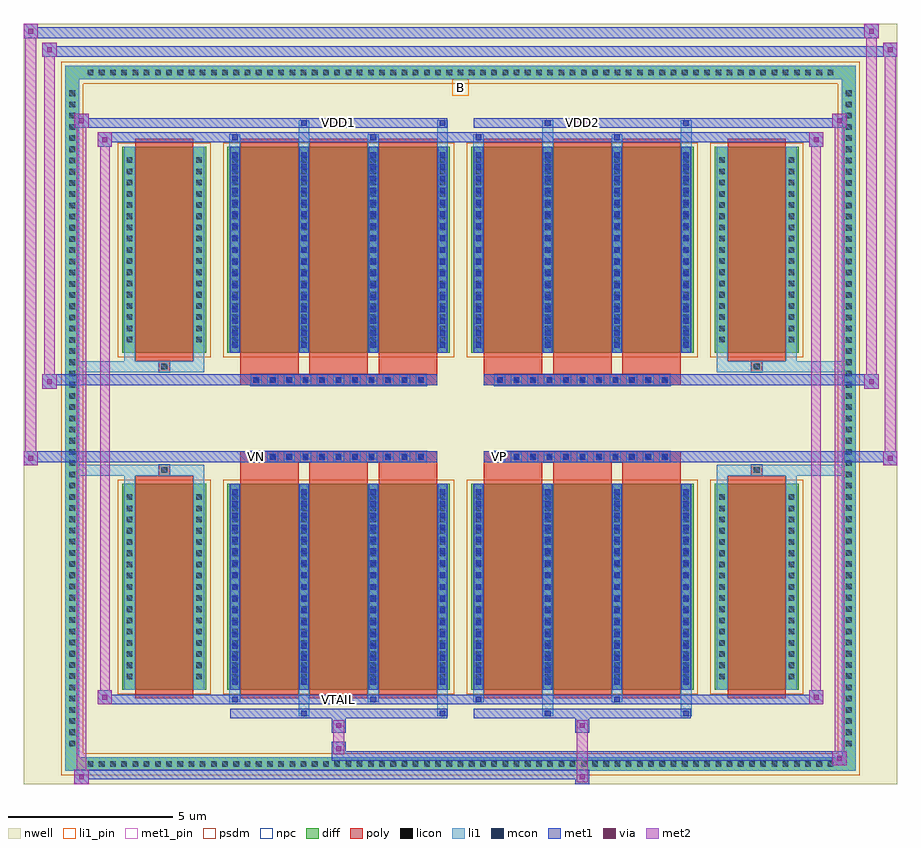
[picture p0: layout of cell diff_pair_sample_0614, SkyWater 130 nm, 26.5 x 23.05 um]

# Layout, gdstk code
import gdstk
lib = gdstk.Library(unit=1e-6, precision=5e-09)
def R(c, l, rs):  # rectangles x0, y0, x1, y1
    for r in rs: c.add(gdstk.rectangle(r[:2], r[2:], *l))
def A(c, l, x, y, w, h, nx, ny, dx, dy):  # array of equal rectangles
    R(c, l, [(x+i*dx, y+j*dy, x+i*dx+w, y+j*dy+h) for i in range(nx) for j in range(ny)])
def P(c, l, *ps):  # polygons
    for p in ps: c.add(gdstk.Polygon(p, *l))
nwell = (64, 20)
diff = (65, 20)
poly = (66, 20)
licon = (66, 44)
li1_pin = (67, 16)
li1 = (67, 20)
mcon = (67, 44)
met1_pin = (68, 16)
met1 = (68, 20)
via = (68, 44)
met2 = (69, 20)
psdm = (94, 20)
npc = (95, 20)

diff_pair_sample_0614 = lib.new_cell('diff_pair_sample_0614')
R(diff_pair_sample_0614, nwell, [(-13.25,-11.09,13.25,11.96), (-10.57,-9.28,-0.01,-0.8), (0.01,-9.28,10.57,-0.8), (-10.57,0.8,-0.01,9.28), (0.01,0.8,10.57,9.28)])
A(diff_pair_sample_0614, diff, -11.425, -10.69, 0.41, 0.41, 67, 2, 0.34, 20.97)
A(diff_pair_sample_0614, diff, -11.98, -10.065, 0.41, 0.41, 1, 59, 0, 0.34)
A(diff_pair_sample_0614, diff, 11.57, -10.065, 0.41, 0.41, 1, 59, 0, 0.34)
R(diff_pair_sample_0614, diff, [(-11.425,-10.69,11.425,-10.28), (-11.98,-10.065,-11.57,10.065), (11.57,-10.065,11.98,10.065), (-10.26,-8.235,-7.71,-1.985), (-7.07,-8.235,-0.32,-1.985), (0.32,-8.235,7.07,-1.985), (7.71,-8.235,10.26,-1.985), (-10.26,1.985,-7.71,8.235), (-7.07,1.985,-0.32,8.235), (0.32,1.985,7.07,8.235), (7.71,1.985,10.26,8.235), (-11.425,10.28,11.425,10.69)])
P(diff_pair_sample_0614, diff, [(11.98,10.69),(-11.98,10.69),(-11.98,-10.28),(-11.57,-10.28),(-11.57,10.28),(11.57,10.28),(11.57,-10.28),(-11.57,-10.28),(-11.98,-10.28),(-11.98,-10.69),(11.98,-10.69)])
A(diff_pair_sample_0614, poly, -6.68, -8.485, 1.77, 6.75, 3, 2, 2.1, 10.22)
A(diff_pair_sample_0614, poly, 0.71, -8.485, 1.77, 6.75, 3, 2, 2.1, 10.22)
A(diff_pair_sample_0614, poly, -6.68, -1.735, 1.77, 0.405, 3, 2, 2.1, 3.065)
A(diff_pair_sample_0614, poly, 0.71, -1.735, 1.77, 0.405, 3, 2, 2.1, 3.065)
A(diff_pair_sample_0614, poly, -6.36, -1.33, 0.33, 0.33, 11, 2, 0.5, 2.33)
A(diff_pair_sample_0614, poly, 1.03, -1.33, 0.33, 0.33, 11, 2, 0.5, 2.33)
R(diff_pair_sample_0614, poly, [(-9.87,-8.485,-8.1,-1.735), (8.1,-8.485,9.87,-1.735), (-9.15,-1.735,-8.82,-1.405), (-9.15,-1.735,-8.82,-1.405), (8.82,-1.735,9.15,-1.405), (8.82,-1.735,9.15,-1.405), (-6.68,-1.33,-0.71,-1), (0.71,-1.33,6.68,-1), (-6.68,1,-0.71,1.33), (0.71,1,6.68,1.33), (-9.15,1.405,-8.82,1.735), (-9.15,1.405,-8.82,1.735), (8.82,1.405,9.15,1.735), (8.82,1.405,9.15,1.735), (-9.87,1.735,-8.1,8.485), (8.1,1.735,9.87,8.485)])
A(diff_pair_sample_0614, licon, -11.305, -10.57, 0.17, 0.17, 67, 2, 0.34, 20.97)
A(diff_pair_sample_0614, licon, -11.86, -9.945, 0.17, 0.17, 1, 59, 0, 0.34)
A(diff_pair_sample_0614, licon, 11.69, -9.945, 0.17, 0.17, 1, 59, 0, 0.34)
A(diff_pair_sample_0614, licon, -10.12, -7.915, 0.17, 0.17, 1, 17, 0, 0.34)
A(diff_pair_sample_0614, licon, -8.02, -7.915, 0.17, 0.17, 1, 17, 0, 0.34)
A(diff_pair_sample_0614, licon, -6.93, -7.915, 0.17, 0.17, 4, 17, 2.1, 0.34)
A(diff_pair_sample_0614, licon, 0.46, -7.915, 0.17, 0.17, 4, 17, 2.1, 0.34)
A(diff_pair_sample_0614, licon, 7.85, -7.915, 0.17, 0.17, 1, 17, 0, 0.34)
A(diff_pair_sample_0614, licon, 9.95, -7.915, 0.17, 0.17, 1, 17, 0, 0.34)
A(diff_pair_sample_0614, licon, -6.28, -1.25, 0.17, 0.17, 11, 2, 0.5, 2.33)
A(diff_pair_sample_0614, licon, 1.11, -1.25, 0.17, 0.17, 11, 2, 0.5, 2.33)
A(diff_pair_sample_0614, licon, -10.12, 2.305, 0.17, 0.17, 1, 17, 0, 0.34)
A(diff_pair_sample_0614, licon, -8.02, 2.305, 0.17, 0.17, 1, 17, 0, 0.34)
A(diff_pair_sample_0614, licon, -6.93, 2.305, 0.17, 0.17, 4, 17, 2.1, 0.34)
A(diff_pair_sample_0614, licon, 0.46, 2.305, 0.17, 0.17, 4, 17, 2.1, 0.34)
A(diff_pair_sample_0614, licon, 7.85, 2.305, 0.17, 0.17, 1, 17, 0, 0.34)
A(diff_pair_sample_0614, licon, 9.95, 2.305, 0.17, 0.17, 1, 17, 0, 0.34)
R(diff_pair_sample_0614, licon, [(-9.07,-1.655,-8.9,-1.485), (8.9,-1.655,9.07,-1.485), (-9.07,1.485,-8.9,1.655), (8.9,1.485,9.07,1.655)])
R(diff_pair_sample_0614, li1_pin, [(-0.25,9.78,0.25,10.28)])
A(diff_pair_sample_0614, li1, -11.385, -10.65, 0.33, 0.33, 67, 2, 0.34, 20.97)
A(diff_pair_sample_0614, li1, -11.94, -10.025, 0.33, 0.33, 1, 59, 0, 0.34)
A(diff_pair_sample_0614, li1, 11.61, -10.025, 0.33, 0.33, 1, 59, 0, 0.34)
A(diff_pair_sample_0614, li1, -7.01, -8.235, 0.33, 6.25, 4, 2, 2.1, 10.22)
A(diff_pair_sample_0614, li1, 0.38, -8.235, 0.33, 6.25, 4, 2, 2.1, 10.22)
A(diff_pair_sample_0614, li1, -6.93, -8.075, 0.17, 0.17, 4, 17, 2.1, 0.36)
A(diff_pair_sample_0614, li1, -6.93, -8.075, 0.17, 5.93, 4, 2, 2.1, 10.22)
A(diff_pair_sample_0614, li1, 0.46, -8.075, 0.17, 0.17, 4, 17, 2.1, 0.36)
A(diff_pair_sample_0614, li1, 0.46, -8.075, 0.17, 5.93, 4, 2, 2.1, 10.22)
A(diff_pair_sample_0614, li1, -10.2, -7.995, 0.33, 0.33, 1, 17, 0, 0.34)
A(diff_pair_sample_0614, li1, -8.1, -7.995, 0.33, 0.33, 1, 17, 0, 0.34)
A(diff_pair_sample_0614, li1, -7.01, -7.995, 0.33, 0.33, 4, 17, 2.1, 0.34)
A(diff_pair_sample_0614, li1, 0.38, -7.995, 0.33, 0.33, 4, 17, 2.1, 0.34)
A(diff_pair_sample_0614, li1, 7.77, -7.995, 0.33, 0.33, 1, 17, 0, 0.34)
A(diff_pair_sample_0614, li1, 9.87, -7.995, 0.33, 0.33, 1, 17, 0, 0.34)
A(diff_pair_sample_0614, li1, -6.36, -1.33, 0.33, 0.33, 11, 2, 0.5, 2.33)
A(diff_pair_sample_0614, li1, 1.03, -1.33, 0.33, 0.33, 11, 2, 0.5, 2.33)
A(diff_pair_sample_0614, li1, -6.93, 2.145, 0.17, 0.17, 4, 17, 2.1, 0.36)
A(diff_pair_sample_0614, li1, 0.46, 2.145, 0.17, 0.17, 4, 17, 2.1, 0.36)
A(diff_pair_sample_0614, li1, -10.2, 2.225, 0.33, 0.33, 1, 17, 0, 0.34)
A(diff_pair_sample_0614, li1, -8.1, 2.225, 0.33, 0.33, 1, 17, 0, 0.34)
A(diff_pair_sample_0614, li1, -7.01, 2.225, 0.33, 0.33, 4, 17, 2.1, 0.34)
A(diff_pair_sample_0614, li1, 0.38, 2.225, 0.33, 0.33, 4, 17, 2.1, 0.34)
A(diff_pair_sample_0614, li1, 7.77, 2.225, 0.33, 0.33, 1, 17, 0, 0.34)
A(diff_pair_sample_0614, li1, 9.87, 2.225, 0.33, 0.33, 1, 17, 0, 0.34)
R(diff_pair_sample_0614, li1, [(-11.98,-10.69,-11.57,-10.28), (-11.98,-10.69,-11.57,-10.28), (-11.57,-10.69,11.57,-10.28), (11.57,-10.69,11.98,-10.28), (11.57,-10.69,11.98,-10.28), (-11.98,-10.28,-11.57,10.28), (11.57,-10.28,11.98,10.28), (-4.91,-9.04,-4.58,-8.235), (-4.83,-9.04,-4.66,-8.87), (-0.71,-9.04,-0.38,-8.235), (-0.63,-9.04,-0.46,-8.87), (2.48,-9.04,2.81,-8.235), (2.56,-9.04,2.73,-8.87), (6.68,-9.04,7.01,-8.235), (6.76,-9.04,6.93,-8.87), (-7.01,-8.61,-6.68,-8.235), (-6.93,-8.61,-6.76,-8.44), (-2.81,-8.61,-2.48,-8.235), (-2.73,-8.61,-2.56,-8.44), (0.38,-8.61,0.71,-8.235), (0.46,-8.61,0.63,-8.44), (4.58,-8.61,4.91,-8.235), (4.66,-8.61,4.83,-8.44), (-10.2,-8.235,-9.87,-1.985), (-8.1,-8.235,-7.77,-1.985), (7.77,-8.235,8.1,-1.985), (9.87,-8.235,10.2,-1.985), (-10.2,-1.985,-9.87,-1.405), (-8.1,-1.985,-7.77,-1.405), (7.77,-1.985,8.1,-1.405), (9.87,-1.985,10.2,-1.405), (-11.98,-1.735,-9.15,-1.405), (-10.2,-1.735,-9.15,-1.405), (-9.15,-1.735,-8.82,-1.405), (-8.82,-1.735,-7.77,-1.405), (7.77,-1.735,8.82,-1.405), (8.82,-1.735,9.15,-1.405), (8.82,-1.735,11.98,-1.405), (9.15,-1.735,10.2,-1.405), (-11.98,1.405,-9.15,1.735), (-10.2,1.405,-9.15,1.735), (-10.2,1.405,-9.87,1.985), (-9.15,1.405,-8.82,1.735), (-8.82,1.405,-7.77,1.735), (-8.1,1.405,-7.77,1.985), (7.77,1.405,8.82,1.735), (7.77,1.405,8.1,1.985), (8.82,1.405,9.15,1.735), (8.82,1.405,11.98,1.735), (9.15,1.405,10.2,1.735), (9.87,1.405,10.2,1.985), (-10.2,1.985,-9.87,8.235), (-8.1,1.985,-7.77,8.235), (7.77,1.985,8.1,8.235), (9.87,1.985,10.2,8.235), (-7.01,8.235,-6.68,8.61), (-4.91,8.235,-4.58,9.04), (-2.81,8.235,-2.48,8.61), (-0.71,8.235,-0.38,9.04), (0.38,8.235,0.71,8.61), (2.48,8.235,2.81,9.04), (4.58,8.235,4.91,8.61), (6.68,8.235,7.01,9.04), (-6.93,8.44,-6.76,8.61), (-2.73,8.44,-2.56,8.61), (0.46,8.44,0.63,8.61), (4.66,8.44,4.83,8.61), (-4.83,8.87,-4.66,9.04), (-0.63,8.87,-0.46,9.04), (2.56,8.87,2.73,9.04), (6.76,8.87,6.93,9.04), (-11.98,10.28,-11.57,10.69), (-11.98,10.28,-11.57,10.69), (-11.57,10.28,11.57,10.69), (11.57,10.28,11.98,10.69), (11.57,10.28,11.98,10.69)])
A(diff_pair_sample_0614, mcon, -6.93, -8.075, 0.17, 0.17, 4, 17, 2.1, 0.36)
A(diff_pair_sample_0614, mcon, 0.46, -8.075, 0.17, 0.17, 4, 17, 2.1, 0.36)
A(diff_pair_sample_0614, mcon, -6.28, -1.25, 0.17, 0.17, 11, 2, 0.5, 2.33)
A(diff_pair_sample_0614, mcon, 1.11, -1.25, 0.17, 0.17, 11, 2, 0.5, 2.33)
A(diff_pair_sample_0614, mcon, -6.93, 2.145, 0.17, 0.17, 4, 17, 2.1, 0.36)
A(diff_pair_sample_0614, mcon, 0.46, 2.145, 0.17, 0.17, 4, 17, 2.1, 0.36)
R(diff_pair_sample_0614, mcon, [(-4.83,-9.04,-4.66,-8.87), (-0.63,-9.04,-0.46,-8.87), (2.56,-9.04,2.73,-8.87), (6.76,-9.04,6.93,-8.87), (-6.93,-8.61,-6.76,-8.44), (-2.73,-8.61,-2.56,-8.44), (0.46,-8.61,0.63,-8.44), (4.66,-8.61,4.83,-8.44), (-6.93,8.44,-6.76,8.61), (-2.73,8.44,-2.56,8.61), (0.46,8.44,0.63,8.61), (4.66,8.44,4.83,8.61), (-4.83,8.87,-4.66,9.04), (-0.63,8.87,-0.46,9.04), (2.56,8.87,2.73,9.04), (6.76,8.87,6.93,9.04)])
R(diff_pair_sample_0614, met1_pin, [(-3.83,-8.65,-3.56,-8.38), (-6.33,-1.29,-6.06,-1.02), (1.06,-1.29,1.33,-1.02), (-3.83,8.83,-3.56,9.1), (3.56,8.83,3.83,9.1)])
A(diff_pair_sample_0614, met1, -6.99, -8.235, 0.29, 6.25, 4, 2, 2.1, 10.22)
A(diff_pair_sample_0614, met1, 0.4, -8.235, 0.29, 6.25, 4, 2, 2.1, 10.22)
A(diff_pair_sample_0614, met1, -6.99, -8.135, 0.29, 0.29, 4, 17, 2.1, 0.36)
A(diff_pair_sample_0614, met1, 0.4, -8.135, 0.29, 0.29, 4, 17, 2.1, 0.36)
A(diff_pair_sample_0614, met1, -6.34, -1.31, 0.29, 0.29, 11, 2, 0.5, 2.33)
A(diff_pair_sample_0614, met1, 1.05, -1.31, 0.29, 0.29, 11, 2, 0.5, 2.33)
A(diff_pair_sample_0614, met1, -6.99, 2.085, 0.29, 0.29, 4, 17, 2.1, 0.36)
A(diff_pair_sample_0614, met1, 0.4, 2.085, 0.29, 0.29, 4, 17, 2.1, 0.36)
R(diff_pair_sample_0614, met1, [(-11.71,-11.09,-11.28,-10.66), (3.48,-11.09,3.91,-10.66), (-11.71,-10.95,3.91,-10.66), (11.28,-10.52,11.71,-10.09), (-3.91,-10.38,11.71,-10.09), (-3.91,-10.24,-3.48,-9.81), (-3.91,-9.53,-3.48,-9.1), (3.48,-9.53,3.91,-9.1), (-6.99,-9.1,-0.4,-8.81), (-4.89,-9.1,-4.6,-8.81), (-0.69,-9.1,-0.4,-8.81), (0.4,-9.1,6.99,-8.81), (2.5,-9.1,2.79,-8.81), (6.7,-9.1,6.99,-8.81), (-11,-8.67,-10.57,-8.24), (-11,-8.67,-6.99,-8.38), (-6.99,-8.67,-6.7,-8.38), (-6.99,-8.67,-0.4,-8.38), (-2.79,-8.67,-2.5,-8.38), (-0.4,-8.67,0.4,-8.38), (0.4,-8.67,0.69,-8.38), (0.4,-8.67,6.99,-8.38), (4.6,-8.67,4.89,-8.38), (6.99,-8.67,11,-8.38), (10.57,-8.67,11,-8.24), (-13.25,-1.43,-12.82,-1), (12.82,-1.43,13.25,-1), (-13.25,-1.33,-0.71,-1), (-6.68,-1.33,-0.71,-1), (0.71,-1.33,6.68,-1), (0.71,-1.33,13.25,-1), (-12.68,0.9,-12.25,1.33), (12.25,0.9,12.68,1.33), (-12.68,1,-6.68,1.33), (-6.68,1,-0.71,1.33), (0.71,1,6.68,1.33), (6.68,1,12.68,1.33), (-11,8.24,-10.57,8.67), (10.57,8.24,11,8.67), (-11,8.38,-6.99,8.67), (-6.99,8.38,-6.7,8.67), (-6.99,8.38,-0.4,8.67), (-2.79,8.38,-2.5,8.67), (-0.4,8.38,0.4,8.67), (0.4,8.38,0.69,8.67), (0.4,8.38,6.99,8.67), (4.6,8.38,4.89,8.67), (6.99,8.38,11,8.67), (-11.71,8.81,-11.28,9.24), (-11.71,8.81,-6.99,9.1), (-6.99,8.81,-0.4,9.1), (-4.89,8.81,-4.6,9.1), (-0.69,8.81,-0.4,9.1), (0.4,8.81,6.99,9.1), (2.5,8.81,2.79,9.1), (6.7,8.81,6.99,9.1), (6.99,8.81,11.71,9.1), (11.28,8.81,11.71,9.24), (-12.68,10.96,-12.25,11.39), (-12.68,10.96,-10.57,11.29), (-10.57,10.96,10.57,11.29), (10.57,10.96,13.25,11.29), (12.82,10.96,13.25,11.39), (-13.25,11.53,-12.82,11.96), (-13.25,11.53,-10.57,11.86), (-10.57,11.53,10.57,11.86), (10.57,11.53,12.68,11.86), (12.25,11.53,12.68,11.96)])
R(diff_pair_sample_0614, via, [(-11.57,-10.95,-11.42,-10.8), (3.62,-10.95,3.77,-10.8), (11.42,-10.38,11.57,-10.23), (-3.77,-10.1,-3.62,-9.95), (-3.77,-9.39,-3.62,-9.24), (3.62,-9.39,3.77,-9.24), (-10.86,-8.53,-10.71,-8.38), (10.71,-8.53,10.86,-8.38), (-13.11,-1.29,-12.96,-1.14), (12.96,-1.29,13.11,-1.14), (-12.54,1.04,-12.39,1.19), (12.39,1.04,12.54,1.19), (-10.86,8.38,-10.71,8.53), (10.71,8.38,10.86,8.53), (-11.57,8.95,-11.42,9.1), (11.42,8.95,11.57,9.1), (-12.54,11.1,-12.39,11.25), (12.96,11.1,13.11,11.25), (-13.11,11.67,-12.96,11.82), (12.39,11.67,12.54,11.82)])
R(diff_pair_sample_0614, met2, [(-11.71,-11.09,-11.28,-10.66), (-11.64,-11.09,-11.35,9.24), (-11.35,-11.09,-11.28,-10.66), (-11.66,-11.04,-11.33,-10.71), (3.53,-11.04,3.86,-10.71), (3.53,-10.71,3.86,-9.48), (11.28,-10.52,11.71,-10.09), (11.35,-10.52,11.64,9.24), (11.64,-10.52,11.71,-10.09), (11.33,-10.47,11.66,-10.14), (-3.86,-10.19,-3.53,-9.86), (-3.86,-9.86,-3.53,-9.48), (-3.86,-9.48,-3.53,-9.15), (3.53,-9.48,3.86,-9.15), (-11,-8.67,-10.57,-8.24), (-10.93,-8.67,-10.64,8.67), (-10.64,-8.67,-10.57,-8.24), (10.57,-8.67,11,-8.24), (10.64,-8.67,10.93,8.67), (10.93,-8.67,11,-8.24), (-10.95,-8.62,-10.62,-8.29), (10.62,-8.62,10.95,-8.29), (-13.25,-1.43,-12.82,-1), (-13.2,-1.43,-12.87,11.96), (-12.87,-1.43,-12.82,-1), (12.82,-1.43,13.25,-1), (12.87,-1.43,13.2,11.39), (13.2,-1.43,13.25,-1), (-13.2,-1.38,-12.87,-1.05), (12.87,-1.38,13.2,-1.05), (-12.68,0.9,-12.25,1.33), (-12.63,0.9,-12.3,11.39), (-12.3,0.9,-12.25,1.33), (12.25,0.9,12.68,1.33), (12.3,0.9,12.63,11.96), (12.63,0.9,12.68,1.33), (-12.63,0.95,-12.3,1.28), (12.3,0.95,12.63,1.28), (-11,8.24,-10.57,8.67), (-10.64,8.24,-10.57,8.67), (10.57,8.24,11,8.67), (10.93,8.24,11,8.67), (-10.95,8.29,-10.62,8.62), (10.62,8.29,10.95,8.62), (-11.71,8.81,-11.28,9.24), (-11.35,8.81,-11.28,9.24), (11.28,8.81,11.71,9.24), (11.64,8.81,11.71,9.24), (-11.66,8.86,-11.33,9.19), (11.33,8.86,11.66,9.19), (-12.68,10.96,-12.25,11.39), (-12.3,10.96,-12.25,11.39), (12.82,10.96,13.25,11.39), (13.2,10.96,13.25,11.39), (-12.63,11.01,-12.3,11.34), (12.87,11.01,13.2,11.34), (-13.25,11.53,-12.82,11.96), (-12.87,11.53,-12.82,11.96), (12.25,11.53,12.68,11.96), (12.63,11.53,12.68,11.96), (-13.2,11.58,-12.87,11.91), (12.3,11.58,12.63,11.91)])
R(diff_pair_sample_0614, psdm, [(-10.39,-8.365,-7.58,-1.855), (-7.2,-8.365,-0.19,-1.855), (0.19,-8.365,7.2,-1.855), (7.58,-8.365,10.39,-1.855), (-10.39,1.855,-7.58,8.365), (-7.2,1.855,-0.19,8.365), (0.19,1.855,7.2,8.365), (7.58,1.855,10.39,8.365)])
P(diff_pair_sample_0614, psdm, [(12.11,10.82),(-12.11,10.82),(-12.11,-10.15),(-11.44,-10.15),(-11.44,10.15),(11.44,10.15),(11.44,-10.15),(-11.44,-10.15),(-12.11,-10.15),(-12.11,-10.82),(12.11,-10.82)])
A(diff_pair_sample_0614, npc, -6.38, -1.35, 0.37, 0.37, 11, 2, 0.5, 2.33)
A(diff_pair_sample_0614, npc, 1.01, -1.35, 0.37, 0.37, 11, 2, 0.5, 2.33)
R(diff_pair_sample_0614, npc, [(-9.17,-1.755,-8.8,-1.385), (8.8,-1.755,9.17,-1.385), (-6.38,-1.35,-5.51,-0.98), (-6.38,-1.35,-5.51,-0.98), (-5.88,-1.35,-5.01,-0.98), (-5.88,-1.35,-5.01,-0.98), (-5.38,-1.35,-4.51,-0.98), (-5.38,-1.35,-4.51,-0.98), (-4.88,-1.35,-4.01,-0.98), (-4.88,-1.35,-4.01,-0.98), (-4.38,-1.35,-3.51,-0.98), (-4.38,-1.35,-3.51,-0.98), (-3.88,-1.35,-3.01,-0.98), (-3.88,-1.35,-3.01,-0.98), (-3.38,-1.35,-2.51,-0.98), (-3.38,-1.35,-2.51,-0.98), (-2.88,-1.35,-2.01,-0.98), (-2.88,-1.35,-2.01,-0.98), (-2.38,-1.35,-1.51,-0.98), (-2.38,-1.35,-1.51,-0.98), (-1.88,-1.35,-1.01,-0.98), (-1.88,-1.35,-1.01,-0.98), (1.01,-1.35,1.88,-0.98), (1.01,-1.35,1.88,-0.98), (1.51,-1.35,2.38,-0.98), (1.51,-1.35,2.38,-0.98), (2.01,-1.35,2.88,-0.98), (2.01,-1.35,2.88,-0.98), (2.51,-1.35,3.38,-0.98), (2.51,-1.35,3.38,-0.98), (3.01,-1.35,3.88,-0.98), (3.01,-1.35,3.88,-0.98), (3.51,-1.35,4.38,-0.98), (3.51,-1.35,4.38,-0.98), (4.01,-1.35,4.88,-0.98), (4.01,-1.35,4.88,-0.98), (4.51,-1.35,5.38,-0.98), (4.51,-1.35,5.38,-0.98), (5.01,-1.35,5.88,-0.98), (5.01,-1.35,5.88,-0.98), (5.51,-1.35,6.38,-0.98), (5.51,-1.35,6.38,-0.98), (-6.38,0.98,-5.51,1.35), (-6.38,0.98,-5.51,1.35), (-5.88,0.98,-5.01,1.35), (-5.88,0.98,-5.01,1.35), (-5.38,0.98,-4.51,1.35), (-5.38,0.98,-4.51,1.35), (-4.88,0.98,-4.01,1.35), (-4.88,0.98,-4.01,1.35), (-4.38,0.98,-3.51,1.35), (-4.38,0.98,-3.51,1.35), (-3.88,0.98,-3.01,1.35), (-3.88,0.98,-3.01,1.35), (-3.38,0.98,-2.51,1.35), (-3.38,0.98,-2.51,1.35), (-2.88,0.98,-2.01,1.35), (-2.88,0.98,-2.01,1.35), (-2.38,0.98,-1.51,1.35), (-2.38,0.98,-1.51,1.35), (-1.88,0.98,-1.01,1.35), (-1.88,0.98,-1.01,1.35), (1.01,0.98,1.88,1.35), (1.01,0.98,1.88,1.35), (1.51,0.98,2.38,1.35), (1.51,0.98,2.38,1.35), (2.01,0.98,2.88,1.35), (2.01,0.98,2.88,1.35), (2.51,0.98,3.38,1.35), (2.51,0.98,3.38,1.35), (3.01,0.98,3.88,1.35), (3.01,0.98,3.88,1.35), (3.51,0.98,4.38,1.35), (3.51,0.98,4.38,1.35), (4.01,0.98,4.88,1.35), (4.01,0.98,4.88,1.35), (4.51,0.98,5.38,1.35), (4.51,0.98,5.38,1.35), (5.01,0.98,5.88,1.35), (5.01,0.98,5.88,1.35), (5.51,0.98,6.38,1.35), (5.51,0.98,6.38,1.35), (-9.17,1.385,-8.8,1.755), (8.8,1.385,9.17,1.755)])
diff_pair_sample_0614.add(gdstk.Label('VTAIL', (-3.695,-8.515), layer=68, texttype=5))
diff_pair_sample_0614.add(gdstk.Label('VN', (-6.195,-1.155), layer=68, texttype=5))
diff_pair_sample_0614.add(gdstk.Label('VP', (1.195,-1.155), layer=68, texttype=5))
diff_pair_sample_0614.add(gdstk.Label('B', (0,10.03), layer=67, texttype=5))
diff_pair_sample_0614.add(gdstk.Label('VDD2', (3.695,8.965), layer=68, texttype=5))
diff_pair_sample_0614.add(gdstk.Label('VDD1', (-3.695,8.965), layer=68, texttype=5))

lib.write_gds('diff_pair_sample_0614.gds')
